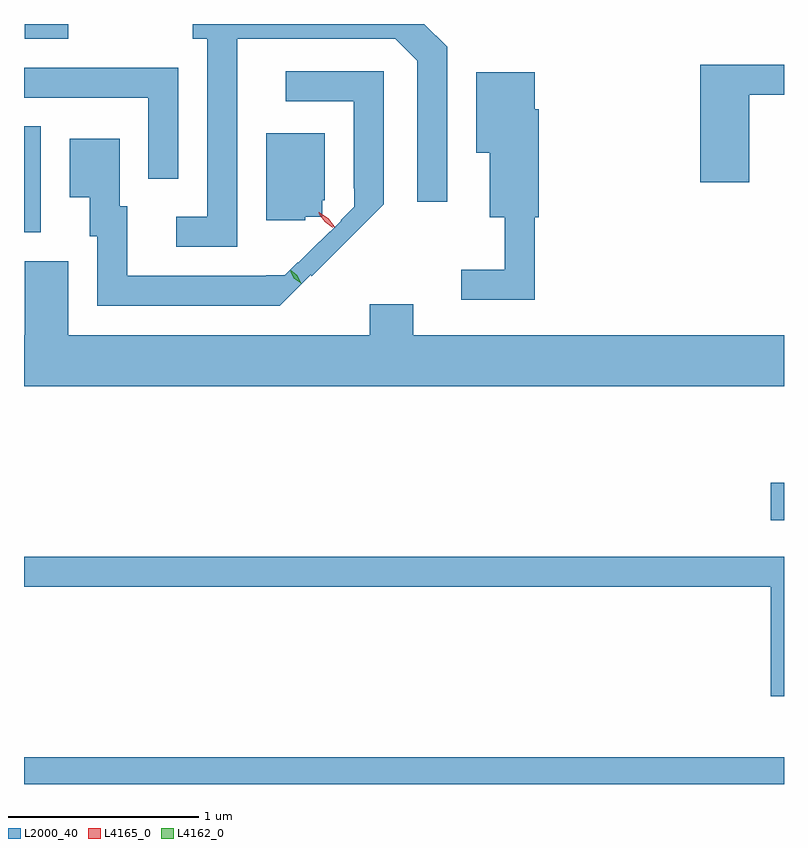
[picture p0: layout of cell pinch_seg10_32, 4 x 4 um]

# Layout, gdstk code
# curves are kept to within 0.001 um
import gdstk
lib = gdstk.Library(unit=1e-6, precision=1e-09)
def R(c, l, rs):  # rectangles x0, y0, x1, y1
    for r in rs: c.add(gdstk.rectangle(r[:2], r[2:], *l))
def P(c, l, *ps):  # polygons
    for p in ps: c.add(gdstk.Polygon(p, *l))
L2000_40 = (2000, 40)
L4162_0 = (4162, 0)
L4165_0 = (4165, 0)

pinch_seg10_32 = lib.new_cell('pinch_seg10_32')
R(pinch_seg10_32, L2000_40, [(616.486,2145.123,620.486,2145.264), (620.416,2146.511,620.486,2146.709), (616.486,2148.026,616.574,2148.584), (616.491,2149.046,616.719,2149.123)])
P(pinch_seg10_32, L2000_40, [(617.609,2149.046),(618.439,2149.046),(618.556,2148.929),(618.556,2148.188),(618.714,2148.188),(618.714,2149.002),(618.593,2149.123),(617.373,2149.123),(617.373,2149.046),(617.451,2149.046),(617.451,2148.109),(617.288,2148.109),(617.288,2147.951),(617.609,2147.951)],
  [(620.304,2148.751),(620.486,2148.751),(620.486,2148.909),(620.046,2148.909),(620.046,2148.291),(620.304,2148.291)],
  [(617.299,2148.894),(616.486,2148.894),(616.486,2148.736),(617.141,2148.736),(617.141,2148.308),(617.299,2148.308)],
  [(617.905,2147.714),(617.995,2147.803),(618.001,2147.796),(618.379,2148.174),(618.379,2148.874),(617.863,2148.874),(617.863,2148.716),(618.221,2148.716),(618.221,2148.259),(618.224,2148.259),(618.224,2148.161),(618.153,2148.09),(618.155,2148.088),(618.043,2147.976),(618.041,2147.978),(617.93,2147.867),(617.928,2147.87),(617.859,2147.801),(617.761,2147.801),(617.761,2147.799),(617.029,2147.799),(617.029,2148.164),(616.989,2148.164),(616.989,2148.519),(616.726,2148.519),(616.726,2148.211),(616.831,2148.211),(616.831,2148.006),(616.871,2148.006),(616.871,2147.641),(617.832,2147.641)],
  [(619.174,2148.106),(619.194,2148.106),(619.194,2148.674),(619.174,2148.674),(619.174,2148.869),(618.866,2148.869),(618.866,2148.446),(618.936,2148.446),(618.936,2148.106),(619.016,2148.106),(619.016,2147.829),(618.788,2147.829),(618.788,2147.671),(619.174,2147.671)],
  [(617.965,2148.108),(618.055,2148.108),(618.055,2148.195),(618.069,2148.195),(618.069,2148.549),(617.761,2148.549),(617.761,2148.091),(617.965,2148.091)],
  [(620.486,2147.484),(618.534,2147.484),(618.534,2147.649),(618.306,2147.649),(618.306,2147.484),(616.719,2147.484),(616.719,2147.874),(616.491,2147.874),(616.491,2147.484),(616.486,2147.484),(616.486,2147.216),(620.486,2147.216)],
  [(620.486,2146.319),(616.486,2146.319),(616.486,2146.161),(620.416,2146.161),(620.416,2145.586),(620.486,2145.586)])
P(pinch_seg10_32, L4162_0, [(617.945,2147.757),(617.909,2147.787),(617.887,2147.829),(617.887,2147.829),(617.888,2147.829),(617.924,2147.8),(617.946,2147.758),(617.946,2147.757)],
  [(617.94,2147.761),(617.906,2147.785),(617.887,2147.821),(617.887,2147.822),(617.888,2147.822),(617.922,2147.798),(617.94,2147.762),(617.94,2147.761)])
P(pinch_seg10_32, L4165_0, [(618.12,2148.054),(618.073,2148.085),(618.038,2148.13),(618.038,2148.131),(618.039,2148.131),(618.086,2148.1),(618.121,2148.055),(618.121,2148.054)],
  [(618.111,2148.051),(618.068,2148.081),(618.038,2148.124),(618.038,2148.125),(618.038,2148.125),(618.082,2148.095),(618.112,2148.052),(618.112,2148.051)])

lib.write_gds('pinch_seg10_32.gds')
